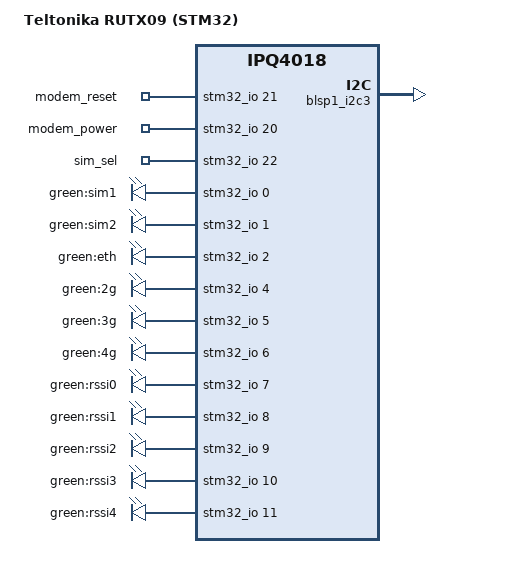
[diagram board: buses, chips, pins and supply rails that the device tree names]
// SPDX-License-Identifier: GPL-2.0-or-later OR MIT

#include "qcom-ipq4018-rutx-dsa.dtsi"

/ {
	model = "Teltonika RUTX09 (STM32)";
	compatible = "teltonika,rutx09-stm32";

	aliases {
		led-boot = &led_rssi0;
		led-failsafe = &led_rssi0;
		led-running = &led_rssi0;
		led-upgrade = &led_rssi0;
	};

	soc {
		gpio-export {
			compatible = "gpio-export";

			modem_reset {
				gpio-export,name = "modem_reset";
				gpio-export,output = <0>;
				gpios = <&stm32_io 21 GPIO_ACTIVE_HIGH>;
			};

			modem_power {
				gpio-export,name = "modem_power";
				gpio-export,output = <1>;
				gpios = <&stm32_io 20 GPIO_ACTIVE_HIGH>;
			};

			sim_sel {
				gpio-export,name = "sim_sel";
				gpio-export,output = <0>;
				gpios = <&stm32_io 22 GPIO_ACTIVE_HIGH>;
			};
		};

		leds {
			compatible = "gpio-leds";

			led-0 {
				label = "green:sim1";
				gpios = <&stm32_io 0 GPIO_ACTIVE_HIGH>;
			};

			led-1 {
				label = "green:sim2";
				gpios = <&stm32_io 1 GPIO_ACTIVE_HIGH>;
			};

			led-2 {
				label = "green:eth";
				gpios = <&stm32_io 2 GPIO_ACTIVE_HIGH>;
			};

			led-3 {
				label = "green:2g";
				gpios = <&stm32_io 4 GPIO_ACTIVE_HIGH>;
			};

			led-4 {
				label = "green:3g";
				gpios = <&stm32_io 5 GPIO_ACTIVE_HIGH>;
			};

			led-5 {
				label = "green:4g";
				gpios = <&stm32_io 6 GPIO_ACTIVE_HIGH>;
			};

			led_rssi0: led-6 {
				label = "green:rssi0";
				gpios = <&stm32_io 7 GPIO_ACTIVE_HIGH>;
			};

			led-7 {
				label = "green:rssi1";
				gpios = <&stm32_io 8 GPIO_ACTIVE_HIGH>;
			};

			led-8 {
				label = "green:rssi2";
				gpios = <&stm32_io 9 GPIO_ACTIVE_HIGH>;
			};

			led-9 {
				label = "green:rssi3";
				gpios = <&stm32_io 10 GPIO_ACTIVE_HIGH>;
			};

			led-10 {
				label = "green:rssi4";
				gpios = <&stm32_io 11 GPIO_ACTIVE_HIGH>;
			};
		};
	};
};

&blsp1_i2c3 {
	status = "okay";
};
